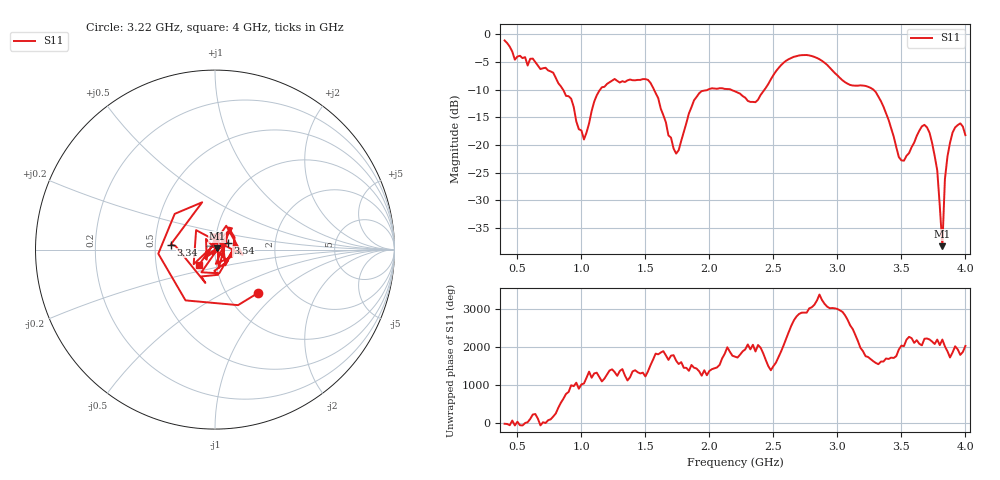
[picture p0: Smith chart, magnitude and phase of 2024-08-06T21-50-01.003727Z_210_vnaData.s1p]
!Created with skrf (http://scikit-rf.org).
# Hz S RI R 50.0
!freq ReS11 ImS11
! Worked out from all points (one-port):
!   181 points, 400 MHz to 4 GHz, reference 50 ohm
!   lowest |S11| = -38.3 dB at 3.82 GHz (marker M1), VSWR 1.02, Z = 51.1 + j0.641 ohm
!   |S11| at or under -10 dB: 856.2 MHz to 1.147 GHz (290.7 MHz wide, 29 % of centre); 1.567 GHz to 1.991 GHz (423.8 MHz wide, 23.8 % of centre); 3.281 GHz to end of sweep (the widest 3 of 4)
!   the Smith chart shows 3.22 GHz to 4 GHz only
!   S11 on the Smith chart (normalised r, x): 3.22 GHz: 1.40, -0.76; 3.34 GHz: 0.60, +0.04; 3.54 GHz: 1.15, +0.09; 4 GHz: 0.83, -0.14
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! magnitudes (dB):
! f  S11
! 400 MHz  -1.1
! 480 MHz  -4.6
! 620 MHz  -4.4
! 860 MHz  -10.1
! 1.02 GHz  -19.0
! 1.14 GHz  -10.2
! 1.3 GHz  -8.7
! 1.52 GHz  -8.3
! 1.76 GHz  -21.0
! 1.92 GHz  -10.7
! 2.2 GHz  -10.3
! 2.36 GHz  -12.3
! 2.66 GHz  -4.1
! 2.84 GHz  -4.3
! 3.1 GHz  -9.2
! 3.22 GHz  -9.3
! 3.34 GHz  -12.1
! 3.48 GHz  -22.2
! 3.54 GHz  -22.0
! 3.56 GHz  -21.5
! 3.66 GHz  -16.6
! 3.72 GHz  -17.8
! 3.78 GHz  -24.6
! 3.82 GHz  -38.3
! 3.84 GHz  -26.2
! 3.88 GHz  -19.6
! 3.96 GHz  -16.1
! 4 GHz  -18.2
